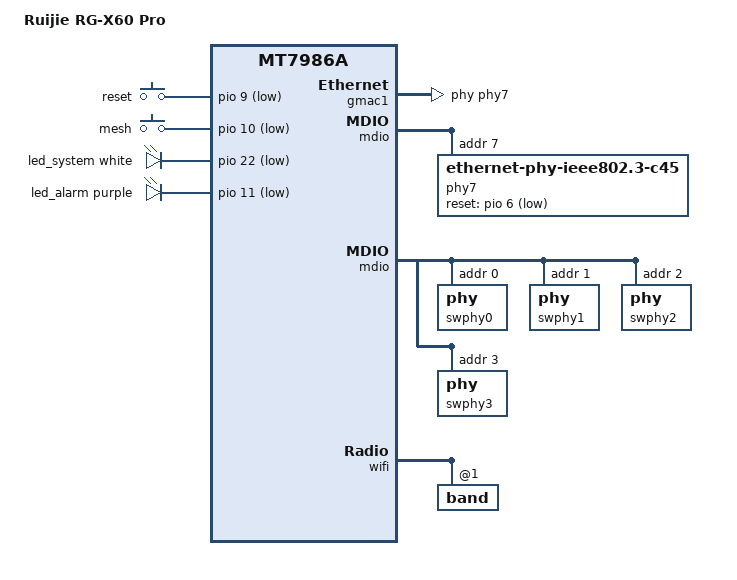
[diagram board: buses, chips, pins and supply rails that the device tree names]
// SPDX-License-Identifier: (GPL-2.0 OR MIT)

/dts-v1/;
#include "mt7986a-ruijie-rg-x60.dtsi"

/ {
	compatible = "ruijie,rg-x60-pro", "mediatek,mt7986a";
	model = "Ruijie RG-X60 Pro";

	aliases {
		led-boot = &led_system;
		led-failsafe = &led_alarm;
		led-running = &led_system;
		led-upgrade = &led_alarm;
	};

	gpio-keys {
		compatible = "gpio-keys";

		button-0 {
			label = "reset";
			gpios = <&pio 9 GPIO_ACTIVE_LOW>;
			linux,code = <KEY_RESTART>;
		};

		button-1 {
			label = "mesh";
			gpios = <&pio 10 GPIO_ACTIVE_LOW>;
			linux,code = <BTN_MISC>;
		};
	};

	leds-gpio {
		compatible = "gpio-leds";

		led_system: led-0 {
			color = <LED_COLOR_ID_WHITE>;
			function = LED_FUNCTION_STATUS;
			gpios = <&pio 22 GPIO_ACTIVE_LOW>;
		};

		led_alarm: led-1 {
			color = <LED_COLOR_ID_PURPLE>;
			function = LED_FUNCTION_STATUS;
			gpios = <&pio 11 GPIO_ACTIVE_LOW>;
		};
	};
};

&gmac1 {
	phy-handle = <&phy7>;
};

&mdio {
	phy7: phy@7 {
		compatible = "ethernet-phy-ieee802.3-c45";
		reg = <7>;
		reset-assert-us = <100000>;
		reset-deassert-us = <100000>;
		reset-gpios = <&pio 6 GPIO_ACTIVE_LOW>;
		realtek,aldps-enable;
		realtek,led-link-select = <0xa7 0x00 0x0>; /* led0 at 10/100/1000/2.5G/(2.5G lite)*/
		realtek,led-act-select = <0x001b>;
	};
};

&switch {
	ports {
		#address-cells = <1>;
		#size-cells = <0>;

		port@0 {
			reg = <0>;
			label = "lan1";
			phy-handle = <&swphy0>;
		};

		port@1 {
			reg = <1>;
			label = "lan2";
			phy-handle = <&swphy1>;
		};

		port@2 {
			reg = <2>;
			label = "lan3";
			phy-handle = <&swphy2>;
		};

		port@3 {
			reg = <3>;
			label = "lan4";
			phy-handle = <&swphy3>;
		};

		port@6 {
			reg = <6>;
			label = "cpu";
			ethernet = <&gmac0>;
			phy-mode = "2500base-x";

			fixed-link {
				speed = <2500>;
				full-duplex;
				pause;
			};
		};
	};

	mdio {
		#address-cells = <1>;
		#size-cells = <0>;

		swphy0: phy@0 {
			reg = <0>;

			mediatek,led-config = <
				0x21 0x8009 /* BASIC_CTRL */
				0x22 0x0c00 /* ON_DURATION */
				0x23 0x1400 /* BLINK_DURATION */
				0x24 0x8000 /* LED0_ON_CTRL */
				0x25 0x0000 /* LED0_BLINK_CTRL */
				0x26 0xc007 /* LED1_ON_CTRL */
				0x27 0x003f /* LED1_BLINK_CTRL */
			>;
		};

		swphy1: phy@1 {
			reg = <1>;

			mediatek,led-config = <
				0x21 0x8009 /* BASIC_CTRL */
				0x22 0x0c00 /* ON_DURATION */
				0x23 0x1400 /* BLINK_DURATION */
				0x24 0x8000 /* LED0_ON_CTRL */
				0x25 0x0000 /* LED0_BLINK_CTRL */
				0x26 0xc007 /* LED1_ON_CTRL */
				0x27 0x003f /* LED1_BLINK_CTRL */
			>;
		};

		swphy2: phy@2 {
			reg = <2>;

			mediatek,led-config = <
				0x21 0x8009 /* BASIC_CTRL */
				0x22 0x0c00 /* ON_DURATION */
				0x23 0x1400 /* BLINK_DURATION */
				0x24 0x8000 /* LED0_ON_CTRL */
				0x25 0x0000 /* LED0_BLINK_CTRL */
				0x26 0xc007 /* LED1_ON_CTRL */
				0x27 0x003f /* LED1_BLINK_CTRL */
			>;
		};

		swphy3: phy@3 {
			reg = <3>;

			mediatek,led-config = <
				0x21 0x8009 /* BASIC_CTRL */
				0x22 0x0c00 /* ON_DURATION */
				0x23 0x1400 /* BLINK_DURATION */
				0x24 0x8000 /* LED0_ON_CTRL */
				0x25 0x0000 /* LED0_BLINK_CTRL */
				0x26 0xc007 /* LED1_ON_CTRL */
				0x27 0x003f /* LED1_BLINK_CTRL */
			>;
		};
	};
};

&wifi {
	band@1 {
		reg = <1>;
		nvmem-cells = <&macaddr_product_info 3>;
		nvmem-cell-names = "mac-address";
	};
};
